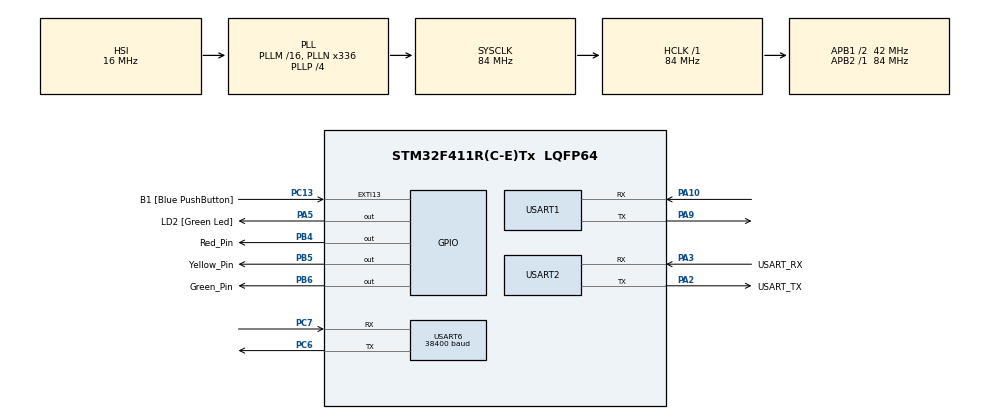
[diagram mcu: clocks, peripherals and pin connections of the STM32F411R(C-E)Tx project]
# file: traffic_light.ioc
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Dma.Request0=USART1_RX
Dma.Request1=USART1_TX
Dma.USART1_RX.0.Direction=DMA_PERIPH_TO_MEMORY
Dma.USART1_RX.0.FIFOMode=DMA_FIFOMODE_DISABLE
Dma.USART1_RX.0.Instance=DMA2_Stream2
Dma.USART1_RX.0.MemDataAlignment=DMA_MDATAALIGN_BYTE
Dma.USART1_RX.0.MemInc=DMA_MINC_ENABLE
Dma.USART1_RX.0.Mode=DMA_CIRCULAR
Dma.USART1_RX.0.PeriphDataAlignment=DMA_PDATAALIGN_BYTE
Dma.USART1_RX.0.PeriphInc=DMA_PINC_DISABLE
Dma.USART1_RX.0.Priority=DMA_PRIORITY_VERY_HIGH
Dma.USART1_TX.1.Direction=DMA_MEMORY_TO_PERIPH
Dma.USART1_TX.1.FIFOMode=DMA_FIFOMODE_DISABLE
Dma.USART1_TX.1.Instance=DMA2_Stream7
Dma.USART1_TX.1.MemDataAlignment=DMA_MDATAALIGN_BYTE
Dma.USART1_TX.1.MemInc=DMA_MINC_ENABLE
Dma.USART1_TX.1.Mode=DMA_NORMAL
Dma.USART1_TX.1.PeriphDataAlignment=DMA_PDATAALIGN_BYTE
Dma.USART1_TX.1.PeriphInc=DMA_PINC_DISABLE
Dma.USART1_TX.1.Priority=DMA_PRIORITY_VERY_HIGH
IWDG.Prescaler=IWDG_PRESCALER_128
IWDG.Reload=2500-1
Mcu.Family=STM32F4
Mcu.Name=STM32F411R(C-E)Tx
Mcu.Package=LQFP64
NVIC.DMA2_Stream2_IRQn=true\:0\:0\:false\:false\:true\:false\:true\:true
NVIC.DMA2_Stream7_IRQn=true\:0\:0\:false\:false\:true\:false\:true\:true
NVIC.PriorityGroup=NVIC_PRIORITYGROUP_4
NVIC.TIM3_IRQn=true\:0\:0\:false\:false\:true\:true\:true\:true
NVIC.USART1_IRQn=true\:0\:0\:false\:false\:true\:true\:true\:true
NVIC.USART6_IRQn=true\:0\:0\:false\:false\:true\:true\:true\:true
PA10.Mode=Asynchronous
PA10.Signal=USART1_RX
PA13.GPIO_Label=TMS
PA13.Mode=Serial_Wire
PA13.Signal=SYS_JTMS-SWDIO
PA14.GPIO_Label=TCK
PA14.Mode=Serial_Wire
PA14.Signal=SYS_JTCK-SWCLK
PA2.GPIO_Label=USART_TX
PA2.Mode=Asynchronous
PA2.Signal=USART2_TX
PA3.GPIO_Label=USART_RX
PA3.Mode=Asynchronous
PA3.Signal=USART2_RX
PA5.GPIO_Label=LD2 [Green Led]
PA5.Signal=GPIO_Output
PA9.Mode=Asynchronous
PA9.Signal=USART1_TX
PB3.GPIO_Label=SWO
PB3.Signal=SYS_JTDO-SWO
PB4.GPIO_Label=Red_Pin
PB4.Signal=GPIO_Output
PB5.GPIO_Label=Yellow_Pin
PB5.Signal=GPIO_Output
PB6.GPIO_Label=Green_Pin
PB6.Signal=GPIO_Output
PC13-ANTI_TAMP.GPIO_Label=B1 [Blue PushButton]
PC13-ANTI_TAMP.GPIO_ModeDefaultEXTI=GPIO_MODE_IT_FALLING
PC13-ANTI_TAMP.Signal=GPXTI13
PC14-OSC32_IN.Signal=RCC_OSC32_IN
PC15-OSC32_OUT.Signal=RCC_OSC32_OUT
PC6.Mode=Asynchronous
PC6.Signal=USART6_TX
PC7.Mode=Asynchronous
PC7.Signal=USART6_RX
PH0\ -\ OSC_IN.Signal=RCC_OSC_IN
PH1\ -\ OSC_OUT.Signal=RCC_OSC_OUT
ProjectManager.HeapSize=0x200
ProjectManager.StackSize=0x400
ProjectManager.TargetToolchain=STM32CubeIDE
RCC.48MHZClocksFreq_Value=84000000
RCC.AHBFreq_Value=84000000
RCC.APB1CLKDivider=RCC_HCLK_DIV2
RCC.APB1Freq_Value=42000000
RCC.APB1TimFreq_Value=84000000
RCC.APB2Freq_Value=84000000
RCC.APB2TimFreq_Value=84000000
RCC.CortexFreq_Value=84000000
RCC.FLatency-AdvancedSettings=FLASH_LATENCY_2
RCC.HCLKFreq_Value=84000000
RCC.HSE_VALUE=8000000
RCC.HSI_VALUE=16000000
RCC.LSE_VALUE=32768
RCC.PLLN=336
RCC.PLLP=RCC_PLLP_DIV4
RCC.SYSCLKFreq_VALUE=84000000
RCC.SYSCLKSource=RCC_SYSCLKSOURCE_PLLCLK
RCC.VCOOutputFreq_Value=336000000
TIM3.AutoReloadPreload=TIM_AUTORELOAD_PRELOAD_ENABLE
TIM3.Channel-Output\ Compare1\ No\ Output=TIM_CHANNEL_1
TIM3.Period=10000-1
TIM3.Prescaler=8400-1
USART1.VirtualMode=VM_ASYNC
USART2.VirtualMode=VM_ASYNC
USART6.BaudRate=38400
USART6.VirtualMode=VM_ASYNC
VP_IWDG_VS_IWDG.Mode=IWDG_Activate
VP_TIM3_VS_ClockSourceINT.Mode=Internal
VP_TIM3_VS_no_output1.Mode=Output Compare1 No Output
board=NUCLEO-F411RE

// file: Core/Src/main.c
/* USER CODE BEGIN Header */
/**
  ******************************************************************************
  * @file           : main.c
  * @brief          : Main program body
  ******************************************************************************
  * @attention
  *
  * Copyright (c) 2025 STMicroelectronics.
  * All rights reserved.
  *
  * This software is licensed under terms that can be found in the LICENSE file
  * in the root directory of this software component.
  * If no LICENSE file comes with this software, it is provided AS-IS.
  *
  ******************************************************************************
  */
/* USER CODE END Header */
#include "main.h"

/* USER CODE BEGIN Includes */
#include <stdio.h>
#include <string.h>
#include <stdlib.h>
#include "esp.h"

/* USER CODE END Includes */

/* USER CODE BEGIN PD */
#ifdef __GNUC__
/* With GCC, small printf (option LD Linker->Libraries->Small printf
   set to 'Yes') calls __io_putchar() */
#define PUTCHAR_PROTOTYPE int __io_putchar(int ch)
#else
#define PUTCHAR_PROTOTYPE int fputc(int ch, FILE *f)
#endif /* __GNUC__ */
#define ARR_CNT 5
#define CMD_SIZE 50

/* USER CODE END PD */

IWDG_HandleTypeDef hiwdg;

TIM_HandleTypeDef htim3;

UART_HandleTypeDef huart1;
UART_HandleTypeDef huart2;
UART_HandleTypeDef huart6;
DMA_HandleTypeDef hdma_usart1_rx;
DMA_HandleTypeDef hdma_usart1_tx;

/* USER CODE BEGIN PV */
volatile int time3SecFlag = 0;
volatile unsigned int time3SecCnt;

#define GREEN_TIME   6
#define YELLOW_TIME  2
#define RED_TIME     6

uint8_t state_led = 0;	// 0 = GREEN, 1 = YELLOW, 2 = RED
uint8_t time_led = 0;	// 남은 시간
const char* led_names[] = {"GREEN", "YELLOW", "RED"};

// wifi
uint8_t rx2char;
extern cb_data_t cb_data;
extern volatile unsigned char rx2Flag;
extern volatile char rx2Data[50];

// watchdog
static volatile uint8_t wdKickReady = 0;    // 1초마다 한 번만 refresh 허용
static volatile uint8_t cp_main_ok  = 0;    // 체크포인트: 메인 주기 처리 OK
static volatile uint8_t cp_net_ok   = 0;    // 체크포인트: Wi-Fi/TCP 처리 OK

/* USER CODE END PV */

void SystemClock_Config(void);
static void MX_GPIO_Init(void);
static void MX_DMA_Init(void);
static void MX_USART2_UART_Init(void);
static void MX_TIM3_Init(void);
static void MX_USART6_UART_Init(void);
static void MX_IWDG_Init(void);
static void MX_USART1_UART_Init(void);
/* USER CODE BEGIN PFP */
char strBuff[MAX_ESP_COMMAND_LEN];
void esp_event(char *);
static void PrintResetReason(void);

/* USER CODE END PFP */

/* USER CODE BEGIN 0 */
void set_led(uint8_t state_led)
{
    HAL_GPIO_WritePin(GPIOB, GPIO_PIN_4, GPIO_PIN_RESET); // RED OFF
    HAL_GPIO_WritePin(GPIOB, GPIO_PIN_5, GPIO_PIN_RESET); // YELLOW OFF
    HAL_GPIO_WritePin(GPIOB, GPIO_PIN_6, GPIO_PIN_RESET); // GREEN OFF

    switch(state_led)
    {
        case 0: // GREEN
            HAL_GPIO_WritePin(GPIOB, GPIO_PIN_6, GPIO_PIN_SET);
            time_led = GREEN_TIME;
            break;
        case 1: // YELLOW
            HAL_GPIO_WritePin(GPIOB, GPIO_PIN_5, GPIO_PIN_SET);
            time_led = YELLOW_TIME;
            break;
        case 2: // RED
            HAL_GPIO_WritePin(GPIOB, GPIO_PIN_4, GPIO_PIN_SET);
            time_led = RED_TIME;
            break;
    }
}

// 리셋 원인 출력
static void PrintResetReason(void)
{
    if (__HAL_RCC_GET_FLAG(RCC_FLAG_IWDGRST)) {
        printf("\r\n[BOOT] Reset by IWDG\r\n");
    }
    __HAL_RCC_CLEAR_RESET_FLAGS();
}
/* USER CODE END 0 */

int main(void)
{

  /* USER CODE BEGIN 1 */
	int ret = 0;
  /* USER CODE END 1 */

  /* MCU Configuration--------------------------------------------------------*/

  /* Reset of all peripherals, Initializes the Flash interface and the Systick. */
  HAL_Init();

  /* Configure the system clock */
  SystemClock_Config();

  /* Initialize all configured peripherals */
  MX_GPIO_Init();
  MX_DMA_Init();
  MX_USART2_UART_Init();
  MX_TIM3_Init();
  MX_USART6_UART_Init();
  MX_IWDG_Init();
  MX_USART1_UART_Init();
  /* USER CODE BEGIN 2 */
  printf("main start()!!\r\n");
  if(HAL_TIM_Base_Start_IT(&htim3) != HAL_OK)
	  Error_Handler();

  // wifi
  printf("Start main() - wifi\r\n");
  ret |= drv_uart_init();
  ret |= drv_esp_init();
  if(ret != 0)
  {
	  printf("Esp response error\r\n");
	  Error_Handler();
  }

  AiotClient_Init();

  // 초기 설정
  state_led = 0;			// 초기값이 green
  time_led = GREEN_TIME;
  set_led(state_led);

  PrintResetReason();

  /* USER CODE END 2 */

  /* Infinite loop */
  /* USER CODE BEGIN WHILE */
  while (1)
  {
	  // --- 네트워크/수신 처리 ---
	  if(strstr((char *)cb_data.buf,"+IPD") && cb_data.buf[cb_data.length-1] == '\n')
	  {
		  strcpy(strBuff,strchr((char *)cb_data.buf,'['));
		  memset(cb_data.buf,0x0,sizeof(cb_data.buf));
		  cb_data.length = 0;
		  esp_event(strBuff);
	  }

	  if(rx2Flag)
	  {
		  printf("recv2 : %s\r\n",rx2Data);
		  rx2Flag =0;
	  }

	  if(time3SecFlag)
	  {
		  if(!(time3SecCnt%3))		// 서버랑 연결 안되면 3초에 한 번씩 재연결
		  {
			  if(esp_get_status() != 0)
			  {
					printf("server connecting ...\r\n");
					esp_client_conn();
			  }

		      // [MOD-B] 재연결 시도 후 "현재 링크 상태"로 cp_net_ok를 판정
		      if (esp_get_status() == 0) {
		          cp_net_ok = 1;    // 링크 정상(ONLINE)
		          printf(">>>>>debug\r\n");
		      }

		      wdKickReady = 1;      // 3초에 한 번 와치독 킥 허용
		  }

		  time3SecFlag = 0;
		  printf("led_names : %s \r\n", led_names[state_led]);
		  printf("time_led : 00:%02d \r\n", time_led);

		  // 신호등 상태, 시간 SQL(db)에 보내기
		  char sendBuf[MAX_UART_COMMAND_LEN]={0};

		  sprintf(sendBuf,"[%s]TIME@%d@%s@Z1\n","JAB_SQL", time_led, led_names[state_led]);
		  esp_send_data(sendBuf);
		  printf("Debug send 1: %s\r\n",sendBuf);

		  sprintf(sendBuf,"[%s]%s\n","ROS2", led_names[state_led]);
		  esp_send_data(sendBuf);
		  printf("Debug send 2: %s\r\n",sendBuf);

		  cp_main_ok = 1;
	  }

	  // --- 와치독 refresh: 3초마다, 그리고 체크포인트가 모두 OK일 때만 ---
	    if (wdKickReady) {
	        wdKickReady = 0;

	        // “핵심 루틴들이 이 3초 안에 최소 한 번은 정상 동작했는가?”
	        if (cp_main_ok && cp_net_ok) {
	            HAL_IWDG_Refresh(&hiwdg); // 킥!
	        } else {
	            // 일부가 멈췄다면 refresh를 생략 → 일정 시간 뒤 IWDG가 리셋 유도
	            printf("[WDT] skip refresh: main_ok=%d, net_ok=%d\r\n", cp_main_ok, cp_net_ok);
	        }

	        // 다음 3초를 위해 체크포인트 초기화
	        cp_main_ok = 0;
	        cp_net_ok  = 0;
	    }
    /* USER CODE END WHILE */

  }
}

void SystemClock_Config(void)
{
  RCC_OscInitTypeDef RCC_OscInitStruct = {0};
  RCC_ClkInitTypeDef RCC_ClkInitStruct = {0};

  /** Configure the main internal regulator output voltage
  */
  __HAL_RCC_PWR_CLK_ENABLE();
  __HAL_PWR_VOLTAGESCALING_CONFIG(PWR_REGULATOR_VOLTAGE_SCALE1);

  /** Initializes the RCC Oscillators according to the specified parameters
  * in the RCC_OscInitTypeDef structure.
  */
  RCC_OscInitStruct.OscillatorType = RCC_OSCILLATORTYPE_HSI|RCC_OSCILLATORTYPE_LSI;
  RCC_OscInitStruct.HSIState = RCC_HSI_ON;
  RCC_OscInitStruct.HSICalibrationValue = RCC_HSICALIBRATION_DEFAULT;
  RCC_OscInitStruct.LSIState = RCC_LSI_ON;
  RCC_OscInitStruct.PLL.PLLState = RCC_PLL_ON;
  RCC_OscInitStruct.PLL.PLLSource = RCC_PLLSOURCE_HSI;
  RCC_OscInitStruct.PLL.PLLM = 16;
  RCC_OscInitStruct.PLL.PLLN = 336;
  RCC_OscInitStruct.PLL.PLLP = RCC_PLLP_DIV4;
  RCC_OscInitStruct.PLL.PLLQ = 4;
  if (HAL_RCC_OscConfig(&RCC_OscInitStruct) != HAL_OK)
  {
    Error_Handler();
  }

  /** Initializes the CPU, AHB and APB buses clocks
  */
  RCC_ClkInitStruct.ClockType = RCC_CLOCKTYPE_HCLK|RCC_CLOCKTYPE_SYSCLK
                              |RCC_CLOCKTYPE_PCLK1|RCC_CLOCKTYPE_PCLK2;
  RCC_ClkInitStruct.SYSCLKSource = RCC_SYSCLKSOURCE_PLLCLK;
  RCC_ClkInitStruct.AHBCLKDivider = RCC_SYSCLK_DIV1;
  RCC_ClkInitStruct.APB1CLKDivider = RCC_HCLK_DIV2;
  RCC_ClkInitStruct.APB2CLKDivider = RCC_HCLK_DIV1;

  if (HAL_RCC_ClockConfig(&RCC_ClkInitStruct, FLASH_LATENCY_2) != HAL_OK)
  {
    Error_Handler();
  }
}

static void MX_IWDG_Init(void)
{

  hiwdg.Instance = IWDG;
  hiwdg.Init.Prescaler = IWDG_PRESCALER_128;
  hiwdg.Init.Reload = 2500-1;
  if (HAL_IWDG_Init(&hiwdg) != HAL_OK)
  {
    Error_Handler();
  }

}

static void MX_TIM3_Init(void)
{

  TIM_ClockConfigTypeDef sClockSourceConfig = {0};
  TIM_MasterConfigTypeDef sMasterConfig = {0};
  TIM_OC_InitTypeDef sConfigOC = {0};

  htim3.Instance = TIM3;
  htim3.Init.Prescaler = 8400-1;
  htim3.Init.CounterMode = TIM_COUNTERMODE_UP;
  htim3.Init.Period = 10000-1;
  htim3.Init.ClockDivision = TIM_CLOCKDIVISION_DIV1;
  htim3.Init.AutoReloadPreload = TIM_AUTORELOAD_PRELOAD_ENABLE;
  if (HAL_TIM_Base_Init(&htim3) != HAL_OK)
  {
    Error_Handler();
  }
  sClockSourceConfig.ClockSource = TIM_CLOCKSOURCE_INTERNAL;
  if (HAL_TIM_ConfigClockSource(&htim3, &sClockSourceConfig) != HAL_OK)
  {
    Error_Handler();
  }
  if (HAL_TIM_OC_Init(&htim3) != HAL_OK)
  {
    Error_Handler();
  }
  sMasterConfig.MasterOutputTrigger = TIM_TRGO_RESET;
  sMasterConfig.MasterSlaveMode = TIM_MASTERSLAVEMODE_DISABLE;
  if (HAL_TIMEx_MasterConfigSynchronization(&htim3, &sMasterConfig) != HAL_OK)
  {
    Error_Handler();
  }
  sConfigOC.OCMode = TIM_OCMODE_TIMING;
  sConfigOC.Pulse = 0;
  sConfigOC.OCPolarity = TIM_OCPOLARITY_HIGH;
  sConfigOC.OCFastMode = TIM_OCFAST_DISABLE;
  if (HAL_TIM_OC_ConfigChannel(&htim3, &sConfigOC, TIM_CHANNEL_1) != HAL_OK)
  {
    Error_Handler();
  }

}

static void MX_USART1_UART_Init(void)
{

  huart1.Instance = USART1;
  huart1.Init.BaudRate = 115200;
  huart1.Init.WordLength = UART_WORDLENGTH_8B;
  huart1.Init.StopBits = UART_STOPBITS_1;
  huart1.Init.Parity = UART_PARITY_NONE;
  huart1.Init.Mode = UART_MODE_TX_RX;
  huart1.Init.HwFlowCtl = UART_HWCONTROL_NONE;
  huart1.Init.OverSampling = UART_OVERSAMPLING_16;
  if (HAL_UART_Init(&huart1) != HAL_OK)
  {
    Error_Handler();
  }

}

static void MX_USART2_UART_Init(void)
{

  huart2.Instance = USART2;
  huart2.Init.BaudRate = 115200;
  huart2.Init.WordLength = UART_WORDLENGTH_8B;
  huart2.Init.StopBits = UART_STOPBITS_1;
  huart2.Init.Parity = UART_PARITY_NONE;
  huart2.Init.Mode = UART_MODE_TX_RX;
  huart2.Init.HwFlowCtl = UART_HWCONTROL_NONE;
  huart2.Init.OverSampling = UART_OVERSAMPLING_16;
  if (HAL_UART_Init(&huart2) != HAL_OK)
  {
    Error_Handler();
  }

}

static void MX_USART6_UART_Init(void)
{

  huart6.Instance = USART6;
  huart6.Init.BaudRate = 38400;
  huart6.Init.WordLength = UART_WORDLENGTH_8B;
  huart6.Init.StopBits = UART_STOPBITS_1;
  huart6.Init.Parity = UART_PARITY_NONE;
  huart6.Init.Mode = UART_MODE_TX_RX;
  huart6.Init.HwFlowCtl = UART_HWCONTROL_NONE;
  huart6.Init.OverSampling = UART_OVERSAMPLING_16;
  if (HAL_UART_Init(&huart6) != HAL_OK)
  {
    Error_Handler();
  }

}

static void MX_DMA_Init(void)
{

  /* DMA controller clock enable */
  __HAL_RCC_DMA2_CLK_ENABLE();

  /* DMA interrupt init */
  /* DMA2_Stream2_IRQn interrupt configuration */
  HAL_NVIC_SetPriority(DMA2_Stream2_IRQn, 0, 0);
  HAL_NVIC_EnableIRQ(DMA2_Stream2_IRQn);
  /* DMA2_Stream7_IRQn interrupt configuration */
  HAL_NVIC_SetPriority(DMA2_Stream7_IRQn, 0, 0);
  HAL_NVIC_EnableIRQ(DMA2_Stream7_IRQn);

}

static void MX_GPIO_Init(void)
{
  GPIO_InitTypeDef GPIO_InitStruct = {0};

  /* GPIO Ports Clock Enable */
  __HAL_RCC_GPIOC_CLK_ENABLE();
  __HAL_RCC_GPIOH_CLK_ENABLE();
  __HAL_RCC_GPIOA_CLK_ENABLE();
  __HAL_RCC_GPIOB_CLK_ENABLE();

  /*Configure GPIO pin Output Level */
  HAL_GPIO_WritePin(LD2_GPIO_Port, LD2_Pin, GPIO_PIN_RESET);

  /*Configure GPIO pin Output Level */
  HAL_GPIO_WritePin(GPIOB, Red_Pin_Pin|Yellow_Pin_Pin|Green_Pin_Pin, GPIO_PIN_RESET);

  /*Configure GPIO pin : B1_Pin */
  GPIO_InitStruct.Pin = B1_Pin;
  GPIO_InitStruct.Mode = GPIO_MODE_IT_FALLING;
  GPIO_InitStruct.Pull = GPIO_NOPULL;
  HAL_GPIO_Init(B1_GPIO_Port, &GPIO_InitStruct);

  /*Configure GPIO pin : LD2_Pin */
  GPIO_InitStruct.Pin = LD2_Pin;
  GPIO_InitStruct.Mode = GPIO_MODE_OUTPUT_PP;
  GPIO_InitStruct.Pull = GPIO_NOPULL;
  GPIO_InitStruct.Speed = GPIO_SPEED_FREQ_LOW;
  HAL_GPIO_Init(LD2_GPIO_Port, &GPIO_InitStruct);

  /*Configure GPIO pins : Red_Pin_Pin Yellow_Pin_Pin Green_Pin_Pin */
  GPIO_InitStruct.Pin = Red_Pin_Pin|Yellow_Pin_Pin|Green_Pin_Pin;
  GPIO_InitStruct.Mode = GPIO_MODE_OUTPUT_PP;
  GPIO_InitStruct.Pull = GPIO_NOPULL;
  GPIO_InitStruct.Speed = GPIO_SPEED_FREQ_LOW;
  HAL_GPIO_Init(GPIOB, &GPIO_InitStruct);

}

/* USER CODE BEGIN 4 */
/**
  * @brief  Retargets the C library printf function to the USART.
  * @param  None
  * @retval None
  */
//PUTCHAR_PROTOTYPE
//{
//  /* Place your implementation of fputc here */
//  /* e.g. write a character to the USART6 and Loop until the end of transmission */
//  HAL_UART_Transmit(&huart2, (uint8_t *)&ch, 1, 0xFFFF);
//
//  return ch;
//}

// TIM3 인터럽트 콜백
void HAL_TIM_PeriodElapsedCallback(TIM_HandleTypeDef *htim)
{
    if (htim->Instance == TIM3)
    {
    	time3SecCnt++;
    	time3SecFlag = 1;
        if (time_led > 0)
        {
            time_led--;   // 남은 시간 감소
        }
        else
        {
            // 다음 신호등 상태로 전환
            state_led = (state_led + 1) % 3;
            set_led(state_led);
        }
    }
}

// wifi event
void esp_event(char * recvBuf)
{
	printf("wifi test!!!\r\n");
  int i=0;
  char * pToken;
  char * pArray[ARR_CNT]={0};
  char sendBuf[MAX_UART_COMMAND_LEN]={0};

  strBuff[strlen(recvBuf)-1] = '\0';	//'\n' cut
  printf("\r\nDebug recv : %s\r\n",recvBuf);

  pToken = strtok(recvBuf,"[@]");
  while(pToken != NULL)
  {
    pArray[i] = pToken;
    if(++i >= ARR_CNT)
      break;
    pToken = strtok(NULL,"[@]");
  }

  if(!strcmp(pArray[1],"STATE"))
  {
  	if(!strcmp(pArray[2],"GET"))
  	{
  		printf(">>>>>state test\r\n");

  	  	// [JAB_SQL]STATE@RED@Z1
  	  	printf("state_led = %s\r\n", led_names[state_led]);
  	  	sprintf(sendBuf,"[%s]STATE@%s@Z1\n","JAB_SQL", led_names[state_led]);
  	}
  }

  if(!strcmp(pArray[1],"TIME"))
  {
  	if(!strcmp(pArray[2],"GET"))
  	{
  		printf(">>>>time test\r\n");

  	  	// [JAB_SQL]TIME@20@RED@Z1
  	  	printf("time_led = %d\r\n", time_led);
  	  	sprintf(sendBuf,"[%s]TIME@%d@%s@Z1\n","JAB_SQL", time_led, led_names[state_led]);
  	}
  }

  else if(!strncmp(pArray[1]," New conn",8))
  {
//	   printf("Debug : %s, %s\r\n",pArray[0],pArray[1]);
     return;
  }
  else if(!strncmp(pArray[1]," Already log",8))
  {
// 	    printf("Debug : %s, %s\r\n",pArray[0],pArray[1]);
	  esp_client_conn();
      return;
  }
  else
      return;

  esp_send_data(sendBuf);
  printf("Debug send : %s\r\n",sendBuf);
}

/* USER CODE END 4 */

void Error_Handler(void)
{
  __disable_irq();
  while (1)
  {
  }
}
